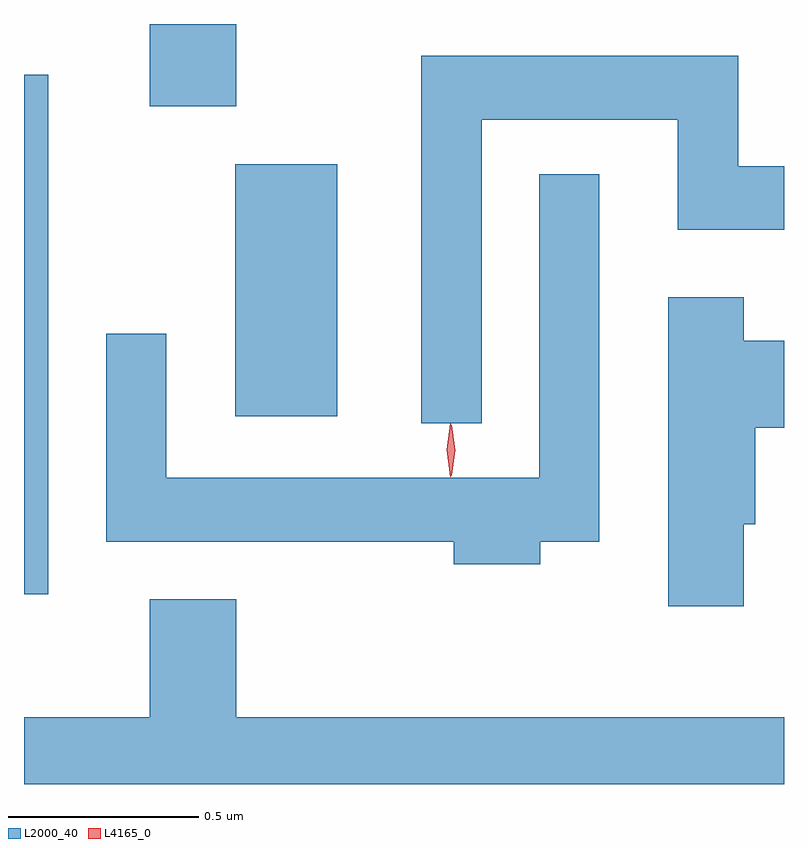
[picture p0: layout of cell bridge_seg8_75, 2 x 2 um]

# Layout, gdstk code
import gdstk
lib = gdstk.Library(unit=1e-6, precision=1e-09)
def R(c, l, rs):  # rectangles x0, y0, x1, y1
    for r in rs: c.add(gdstk.rectangle(r[:2], r[2:], *l))
def P(c, l, *ps):  # polygons
    for p in ps: c.add(gdstk.Polygon(p, *l))
L2000_40 = (2000, 40)
L4165_0 = (4165, 0)

bridge_seg8_75 = lib.new_cell('bridge_seg8_75')
R(bridge_seg8_75, L2000_40, [(1536.72,1814.808,1536.784,1816.174), (1537.276,1815.276,1537.544,1815.939), (1537.051,1816.091,1537.279,1816.308)])
P(bridge_seg8_75, L2000_40, [(1537.924,1816.056),(1538.441,1816.056),(1538.441,1815.766),(1538.72,1815.766),(1538.72,1815.934),(1538.599,1815.934),(1538.599,1816.224),(1537.766,1816.224),(1537.766,1815.258),(1537.924,1815.258)],
  [(1538.079,1814.946),(1538.234,1814.946),(1538.234,1815.913),(1538.076,1815.913),(1538.076,1815.114),(1537.094,1815.114),(1537.094,1815.493),(1536.936,1815.493),(1536.936,1814.946),(1537.851,1814.946),(1537.851,1814.886),(1538.079,1814.886)],
  [(1538.614,1814.991),(1538.644,1814.991),(1538.644,1815.246),(1538.72,1815.246),(1538.72,1815.474),(1538.614,1815.474),(1538.614,1815.589),(1538.416,1815.589),(1538.416,1814.776),(1538.614,1814.776)],
  [(1538.72,1814.484),(1537.279,1814.484),(1537.279,1814.794),(1537.051,1814.794),(1537.051,1814.484),(1536.72,1814.484),(1536.72,1814.308),(1538.72,1814.308)])
P(bridge_seg8_75, L4165_0, [(1537.845,1815.119),(1537.844,1815.12),(1537.835,1815.186),(1537.844,1815.252),(1537.845,1815.253),(1537.845,1815.252),(1537.855,1815.186),(1537.845,1815.12)],
  [(1537.842,1815.117),(1537.833,1815.187),(1537.842,1815.256),(1537.843,1815.256),(1537.843,1815.256),(1537.853,1815.187),(1537.843,1815.117),(1537.843,1815.117)])

lib.write_gds('bridge_seg8_75.gds')
